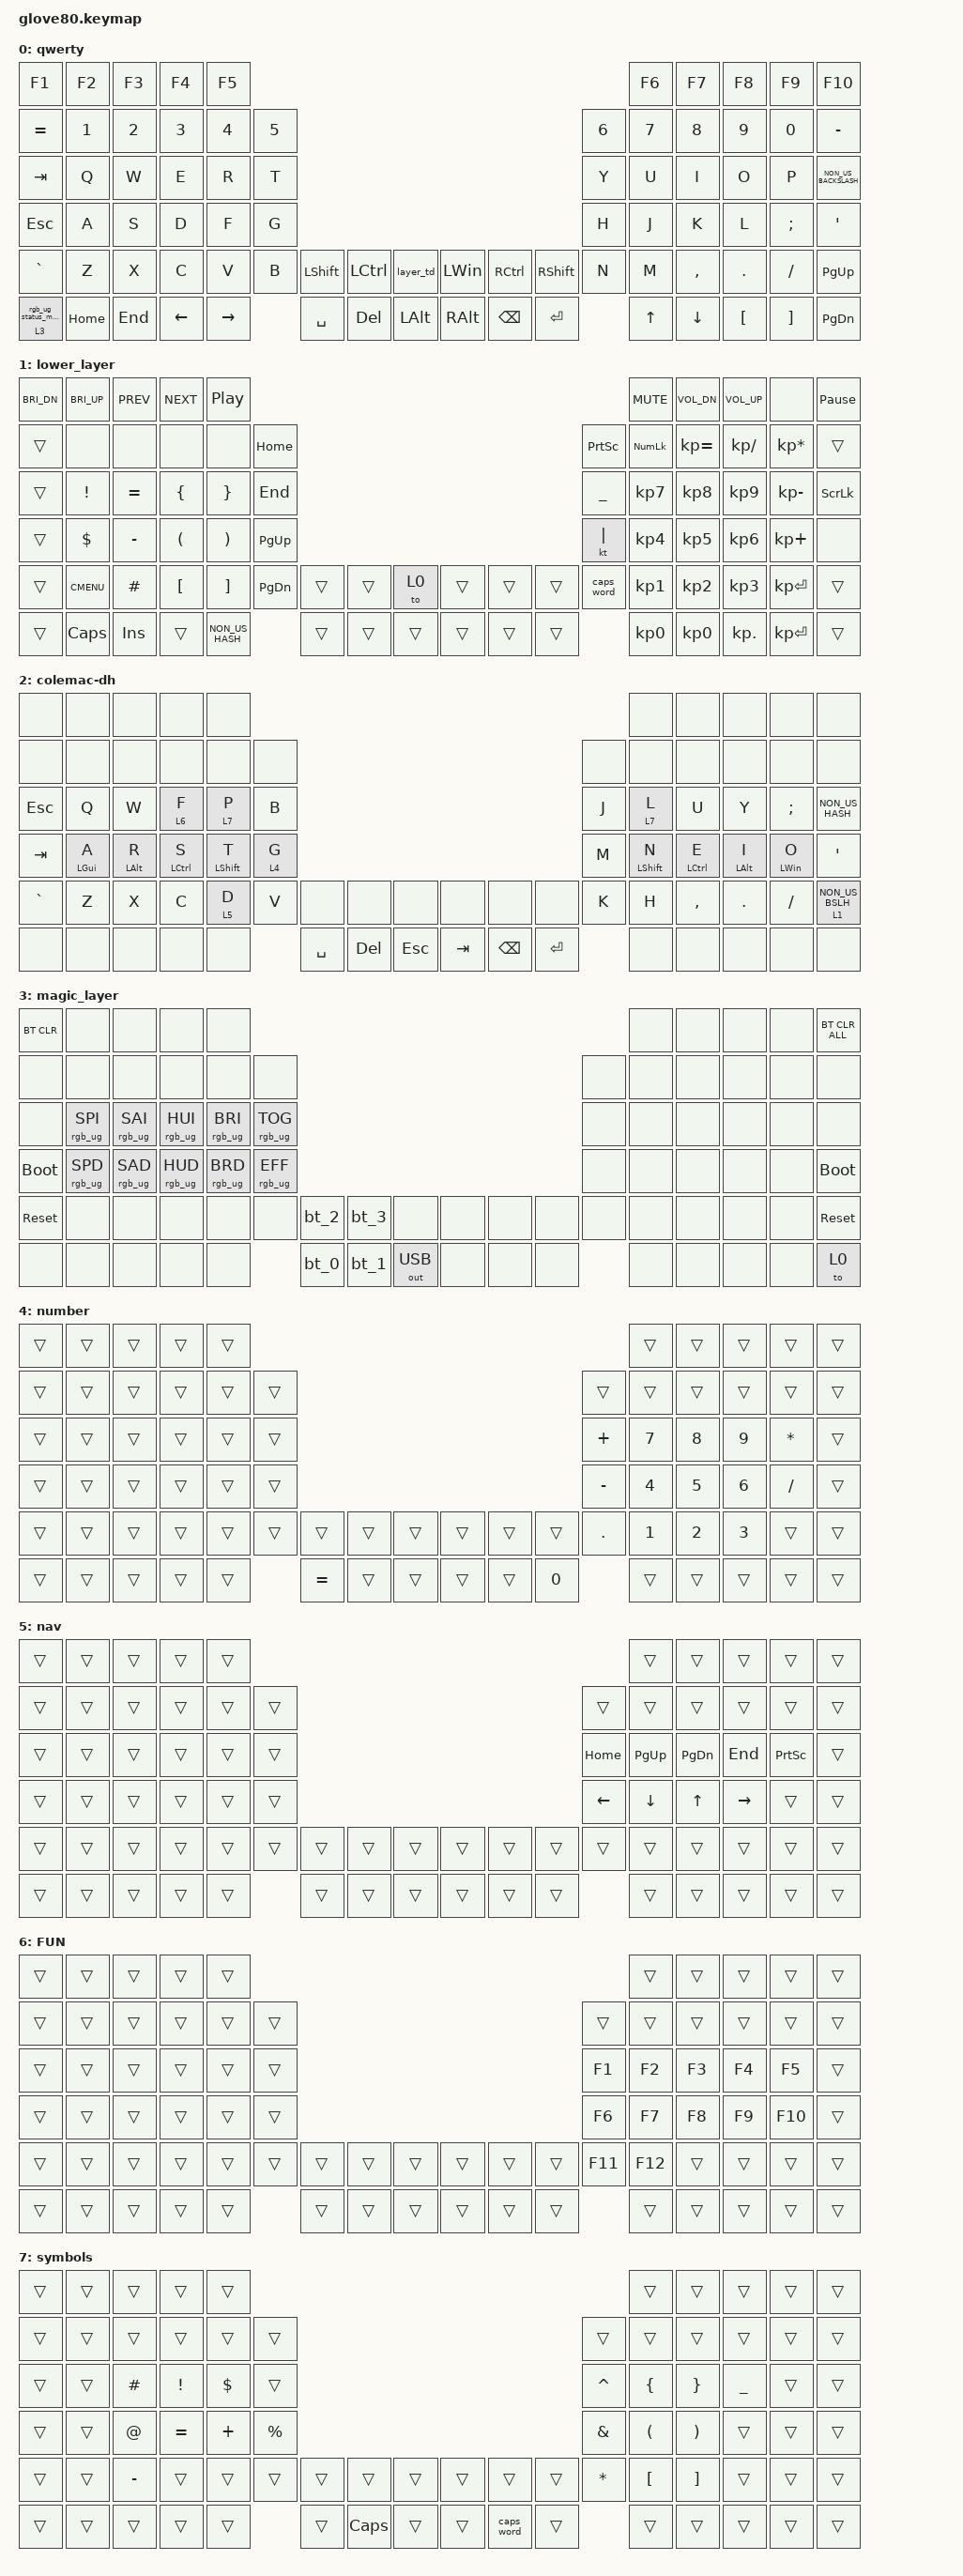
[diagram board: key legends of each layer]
/*
 * Copyright (c) 2020 The ZMK Contributors
 *
 * SPDX-License-Identifier: MIT
 */

#include <behaviors.dtsi>
#include <dt-bindings/zmk/bt.h>
#include <dt-bindings/zmk/keys.h>
#include <dt-bindings/zmk/outputs.h>
#include <dt-bindings/zmk/rgb.h>

#define HYPER LC(LS(LG(LALT)))

// layers

#define DEFAULT 0
#define LOWER 1
#define MAGIC 2
#define FACTORY_TEST 3

/ {
    behaviors {
        // For the "layer" key, it'd nice to be able to use it as either a shift or a toggle.
        // Configure it as a tap dance, so the first tap (or hold) is a &mo and the second tap is a &to

        layer_td: tap_dance_0 {
            compatible = "zmk,behavior-tap-dance";
            label = "LAYER_TAP_DANCE";
            #binding-cells = <0>;
            tapping-term-ms = <200>;
            bindings = <&mo 1>, <&to 1>;
        };

        magic: magic_hold_tap {
            compatible = "zmk,behavior-hold-tap";
            label = "MAGIC_HOLD_TAP";
            #binding-cells = <2>;
            flavor = "tap-preferred";
            tapping-term-ms = <200>;
            bindings = <&mo>, <&rgb_ug_status_macro>;
        };
    };

    macros {
        rgb_ug_status_macro: rgb_ug_status_macro_0 {
            label = "RGB_UG_STATUS";
            compatible = "zmk,behavior-macro";
            #binding-cells = <0>;
            bindings = <&rgb_ug RGB_STATUS>;
        };

        bt_0: bt_profile_macro_0 {
            label = "BT_0";
            compatible = "zmk,behavior-macro";
            #binding-cells = <0>;
            bindings = <&out OUT_BLE &bt BT_SEL 0>;
        };

        bt_1: bt_profile_macro_1 {
            label = "BT_1";
            compatible = "zmk,behavior-macro";
            #binding-cells = <0>;
            bindings = <&out OUT_BLE &bt BT_SEL 1>;
        };

        bt_2: bt_profile_macro_2 {
            label = "BT_2";
            compatible = "zmk,behavior-macro";
            #binding-cells = <0>;
            bindings = <&out OUT_BLE &bt BT_SEL 2>;
        };

        bt_3: bt_profile_macro_3 {
            label = "BT_3";
            compatible = "zmk,behavior-macro";
            #binding-cells = <0>;
            bindings = <&out OUT_BLE &bt BT_SEL 3>;
        };
    };

    combos {
        compatible = "zmk,combos";

        layer1 {
            bindings = <&tog 2>;
            key-positions = <0 9>;
        };

        layer0 {
            bindings = <&to 0>;
            key-positions = <1 8>;
        };
    };

    keymap {
        compatible = "zmk,keymap";

        qwerty {
            // ---------------------------------------------------------------------------------------------------------------------------------
            // |  F1   |  F2 |  F3 |  F4  |  F5  |                                                                     |  F6   |  F7   |  F8  |   F9  |  F10 |
            // |  =    |  1  |  2  |  3   |  4   |  5   |                                                       |  6   |   7   |   8   |  9   |   0   |   -  |
            // |  TAB  |  Q  |  W  |  F   |  P   |  B   |                                                       |  Y   |   U   |   I   |  O   |   P   |   \  |
            // |  ESC  |  A  |  R  |  S   |  T   |  G   |                                                       |  H   |   J   |   K   |  L   |   ;   |   '  |
            // |   `   |  Z  |  X  |  C   |  D   |  V   | LSHFT  | LCTRL | LOWER | | LGUI  | RCTRL      | RSHFT |  N   |   M   |   ,   |  .   |   /   | PGUP |
            // | MAGIC | HOME| END | LEFT | RIGHT|      | SPACE  | DEL   | LALT  | | RALT  | BACKSPACE  | ENTER |      |  UP   | DOWN  |  [   |   ]   | PGDN |

            bindings = <
&kp F1      &kp F2    &kp F3   &kp F4    &kp F5                                                                                                               &kp F6        &kp F7     &kp F8    &kp F9    &kp F10
&kp EQUAL   &kp N1    &kp N2   &kp N3    &kp N4     &kp N5                                                                                            &kp N6  &kp N7        &kp N8     &kp N9    &kp N0    &kp MINUS
&kp TAB     &kp Q     &kp W    &kp E     &kp R      &kp T                                                                                             &kp Y   &kp U         &kp I      &kp O     &kp P     &kp NON_US_BACKSLASH
&kp ESCAPE  &kp A     &kp S    &kp D     &kp F      &kp G                                                                                             &kp H   &kp J         &kp K      &kp L     &kp SEMI  &kp APOS
&kp GRAVE   &kp Z     &kp X    &kp C     &kp V      &kp B   &kp LSHFT  &kp LEFT_CONTROL  &layer_td  &kp LEFT_WIN  &kp RIGHT_CONTROL  &kp RIGHT_SHIFT  &kp N   &kp M         &kp COMMA  &kp DOT   &kp FSLH  &kp PAGE_UP
&magic 3 0  &kp HOME  &kp END  &kp LEFT  &kp RIGHT          &kp SPACE  &kp DEL           &kp LALT   &kp RALT      &kp BACKSPACE      &kp ENTER                &kp UP_ARROW  &kp DOWN   &kp LBKT  &kp RBKT  &kp PG_DN
            >;
        };

        lower_layer {
            bindings = <
&kp C_BRI_DN  &kp C_BRI_UP     &kp C_PREV  &kp C_NEXT            &kp C_PP                                                                                           &kp C_MUTE  &kp C_VOL_DN  &kp C_VOL_UP   &none            &kp PAUSE_BREAK
&trans        &none            &none       &none                 &none                  &kp HOME                                                   &kp PRINTSCREEN  &kp KP_NUM  &kp KP_EQUAL  &kp KP_DIVIDE  &kp KP_MULTIPLY  &trans
&trans        &kp EXCLAMATION  &kp EQUAL   &kp LEFT_BRACE        &kp RIGHT_BRACE        &kp END                                                    &kp UNDERSCORE   &kp KP_N7   &kp KP_N8     &kp KP_N9      &kp KP_MINUS     &kp SLCK
&trans        &kp DOLLAR       &kp MINUS   &kp LEFT_PARENTHESIS  &kp RIGHT_PARENTHESIS  &kp PG_UP                                                  &kt PIPE         &kp KP_N4   &kp KP_N5     &kp KP_N6      &kp KP_PLUS      &none
&trans        &kp K_CMENU      &kp HASH    &kp LEFT_BRACKET      &kp RIGHT_BRACKET      &kp PG_DN  &trans  &trans  &to 0   &trans  &trans  &trans  &caps_word       &kp KP_N1   &kp KP_N2     &kp KP_N3      &kp KP_ENTER     &trans
&trans        &kp CAPS         &kp INS     &trans                &kp NON_US_HASH                   &trans  &trans  &trans  &trans  &trans  &trans                   &kp KP_N0   &kp KP_N0     &kp KP_DOT     &kp KP_ENTER     &trans
            >;
        };

        colemac-dh {
            bindings = <
&none       &none       &none           &none        &none                                                                                               &none         &none        &none           &none       &none
&none       &none       &none           &none        &none         &none                                                                          &none  &none         &none        &none           &none       &none
&kp ESCAPE  &kp Q       &kp W           &lt 6 F      &lt 7 P       &kp B                                                                          &kp J  &lt 7 L       &kp U        &kp Y           &kp SEMI    &kp NON_US_HASH
&kp TAB     &mt LGUI A  &mt LEFT_ALT R  &mt LCTRL S  &mt LSHIFT T  &lt 4 G                                                                        &kp M  &mt LSHIFT N  &mt LCTRL E  &mt LEFT_ALT I  &mt LWIN O  &kp APOS
&kp GRAVE   &kp Z       &kp X           &kp C        &lt 5 D       &kp V    &none      &none       &none       &none    &none          &none      &kp K  &kp H         &kp COMMA    &kp DOT         &kp FSLH    &lt 1 NON_US_BSLH
&none       &none       &none           &none        &none                  &kp SPACE  &kp DELETE  &kp ESCAPE  &kp TAB  &kp BACKSPACE  &kp ENTER         &none         &none        &none           &none       &none
            >;
        };

        magic_layer {
            bindings = <
&bt BT_CLR   &none            &none            &none            &none                                                                                     &none  &none  &none  &none  &bt BT_CLR_ALL
&none        &none            &none            &none            &none            &none                                                             &none  &none  &none  &none  &none  &none
&none        &rgb_ug RGB_SPI  &rgb_ug RGB_SAI  &rgb_ug RGB_HUI  &rgb_ug RGB_BRI  &rgb_ug RGB_TOG                                                   &none  &none  &none  &none  &none  &none
&bootloader  &rgb_ug RGB_SPD  &rgb_ug RGB_SAD  &rgb_ug RGB_HUD  &rgb_ug RGB_BRD  &rgb_ug RGB_EFF                                                   &none  &none  &none  &none  &none  &bootloader
&sys_reset   &none            &none            &none            &none            &none            &bt_2  &bt_3  &none         &none  &none  &none  &none  &none  &none  &none  &none  &sys_reset
&none        &none            &none            &none            &none                             &bt_0  &bt_1  &out OUT_USB  &none  &none  &none         &none  &none  &none  &none  &to 0
            >;
        };

        number {
            bindings = <
&trans  &trans  &trans  &trans  &trans                                                                         &trans        &trans        &trans        &trans        &trans
&trans  &trans  &trans  &trans  &trans  &trans                                                     &trans      &trans        &trans        &trans        &trans        &trans
&trans  &trans  &trans  &trans  &trans  &trans                                                     &kp PLUS    &kp N7        &kp N8        &kp N9        &kp ASTERISK  &trans
&trans  &trans  &trans  &trans  &trans  &trans                                                     &kp MINUS   &kp NUMBER_4  &kp N5        &kp NUMBER_6  &kp SLASH     &trans
&trans  &trans  &trans  &trans  &trans  &trans  &trans     &trans  &trans  &trans  &trans  &trans  &kp PERIOD  &kp NUMBER_1  &kp NUMBER_2  &kp NUMBER_3  &trans        &trans
&trans  &trans  &trans  &trans  &trans          &kp EQUAL  &trans  &trans  &trans  &trans  &kp N0              &trans        &trans        &trans        &trans        &trans
            >;
        };

        nav {
            bindings = <
&trans  &trans  &trans  &trans  &trans                                                                    &trans       &trans         &trans     &trans           &trans
&trans  &trans  &trans  &trans  &trans  &trans                                                  &trans    &trans       &trans         &trans     &trans           &trans
&trans  &trans  &trans  &trans  &trans  &trans                                                  &kp HOME  &kp PAGE_UP  &kp PAGE_DOWN  &kp END    &kp PRINTSCREEN  &trans
&trans  &trans  &trans  &trans  &trans  &trans                                                  &kp LEFT  &kp DOWN     &kp UP_ARROW   &kp RIGHT  &trans           &trans
&trans  &trans  &trans  &trans  &trans  &trans  &trans  &trans  &trans  &trans  &trans  &trans  &trans    &trans       &trans         &trans     &trans           &trans
&trans  &trans  &trans  &trans  &trans          &trans  &trans  &trans  &trans  &trans  &trans            &trans       &trans         &trans     &trans           &trans
            >;
        };

        FUN {
            bindings = <
&trans  &trans  &trans  &trans  &trans                                                                   &trans   &trans  &trans  &trans   &trans
&trans  &trans  &trans  &trans  &trans  &trans                                                  &trans   &trans   &trans  &trans  &trans   &trans
&trans  &trans  &trans  &trans  &trans  &trans                                                  &kp F1   &kp F2   &kp F3  &kp F4  &kp F5   &trans
&trans  &trans  &trans  &trans  &trans  &trans                                                  &kp F6   &kp F7   &kp F8  &kp F9  &kp F10  &trans
&trans  &trans  &trans  &trans  &trans  &trans  &trans  &trans  &trans  &trans  &trans  &trans  &kp F11  &kp F12  &trans  &trans  &trans   &trans
&trans  &trans  &trans  &trans  &trans          &trans  &trans  &trans  &trans  &trans  &trans           &trans   &trans  &trans  &trans   &trans
            >;
        };

        symbols {
            bindings = <
&trans  &trans  &trans     &trans           &trans                                                                                        &trans                &trans                 &trans     &trans  &trans
&trans  &trans  &trans     &trans           &trans      &trans                                                             &trans         &trans                &trans                 &trans     &trans  &trans
&trans  &trans  &kp POUND  &kp EXCLAMATION  &kp DOLLAR  &trans                                                             &kp CARET      &kp LEFT_BRACE        &kp RIGHT_BRACE        &kp UNDER  &trans  &trans
&trans  &trans  &kp AT     &kp EQUAL        &kp PLUS    &kp PERCENT                                                        &kp AMPERSAND  &kp LEFT_PARENTHESIS  &kp RIGHT_PARENTHESIS  &trans     &trans  &trans
&trans  &trans  &kp MINUS  &trans           &trans      &trans       &trans  &trans    &trans  &trans  &trans      &trans  &kp ASTERISK   &kp LEFT_BRACKET      &kp RIGHT_BRACKET      &trans     &trans  &trans
&trans  &trans  &trans     &trans           &trans                   &trans  &kp CAPS  &trans  &trans  &caps_word  &trans                 &trans                &trans                 &trans     &trans  &trans
            >;
        };
    };
};
